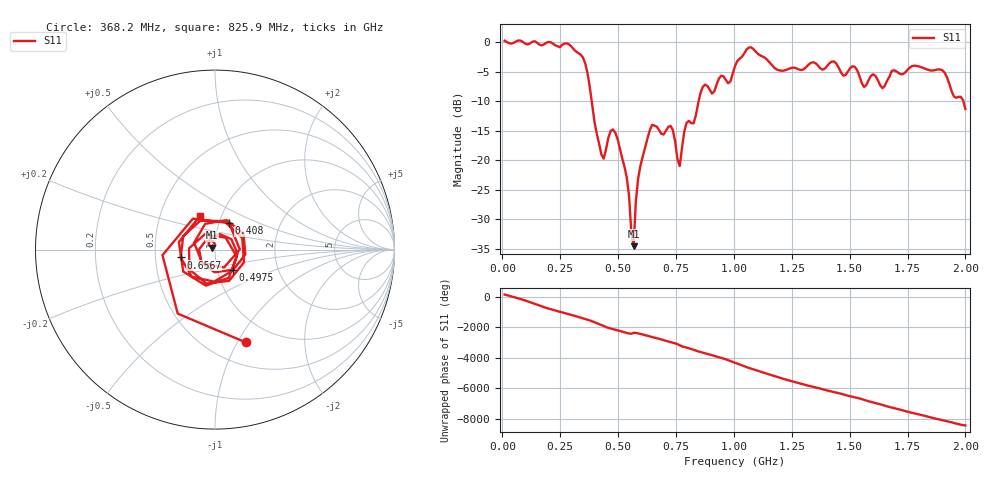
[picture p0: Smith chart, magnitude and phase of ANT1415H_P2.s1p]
!Created with skrf (http://scikit-rf.org).
# Hz S RI R 50.0
!freq ReS11 ImS11
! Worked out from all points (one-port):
!   201 points, 10 MHz to 2 GHz, reference 50 ohm
!   lowest |S11| = -34.6 dB at 567.2 MHz (marker M1), VSWR 1.04, Z = 48.5 + j1.01 ohm
!   |S11| at or under -10 dB: 386 MHz to 848.1 MHz (462.1 MHz wide, 74.9 % of centre); 1.991049 GHz to end of sweep
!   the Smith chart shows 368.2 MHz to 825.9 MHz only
!   S11 on the Smith chart (normalised r, x): 368.2 MHz: 0.74, -1.08; 408 MHz: 1.12, +0.34; 497.6 MHz: 1.19, -0.27; 656.8 MHz: 0.68, -0.06; 825.9 MHz: 0.79, +0.31
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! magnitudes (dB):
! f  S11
! 10 MHz  0.2
! 258.8 MHz  -0.5
! 368.2 MHz  -5.3
! 408 MHz  -15.5
! 437.9 MHz  -19.8
! 467.7 MHz  -15.1
! 497.6 MHz  -16.4
! 507.5 MHz  -18.0
! 537.4 MHz  -22.9
! 567.2 MHz  -34.6
! 577.1 MHz  -26.8
! 587.1 MHz  -23.0
! 656.8 MHz  -14.2
! 726.4 MHz  -14.2
! 756.2 MHz  -19.8
! 766.2 MHz  -21.0
! 796 MHz  -13.7
! 825.9 MHz  -13.8
! 865.7 MHz  -7.6
! 975.1 MHz  -7.0
! 1.005 GHz  -4.1
! 1.075 GHz  -0.9
! 1.254 GHz  -4.3
! 1.502 GHz  -4.4
! 1.642 GHz  -7.8
! 1.751 GHz  -4.6
! 1.901 GHz  -4.8
! 2 GHz  -11.3
